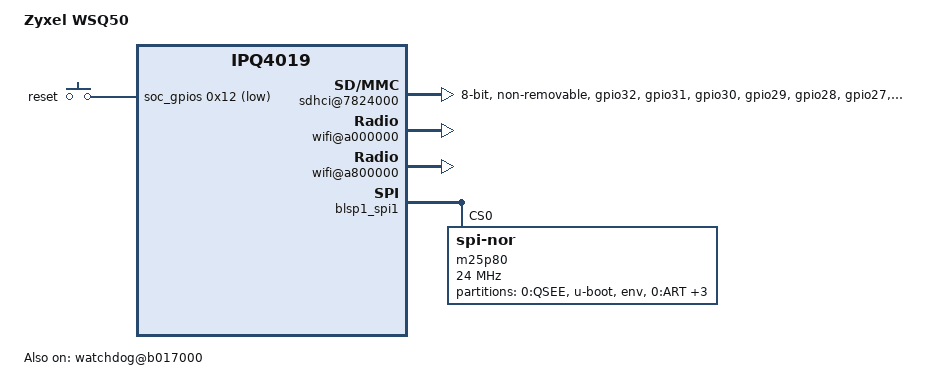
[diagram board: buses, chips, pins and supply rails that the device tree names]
// SPDX-License-Identifier: GPL-2.0-or-later OR MIT

#include "qcom-ipq4019.dtsi"
#include <dt-bindings/gpio/gpio.h>
#include <dt-bindings/input/input.h>
#include <dt-bindings/input/linux-event-codes.h>
#include <dt-bindings/soc/qcom,tcsr.h>

/ {
	model = "Zyxel WSQ50";
	compatible = "zyxel,wsq50";

	chosen {
		/*
		 * the vendor u-boot adds root and mtdparts cmdline parameters
		 * which we don't want... but we have to overwrite them or else
		 * the kernel will take them at face value.
		 */
		bootargs-append = " clk_ignore_unused root=/dev/mmcblk0p8 mtdparts=spi0.0:0x60000@0x60000(0:QSEE)ro,0x80000@0xE0000(u-boot)ro,0x10000(env)ro,0x10000(0:ART)ro,0x10000(dualflag),0x10000(CRT)ro,0x260000(reserved)";
	};

	clocks {
		gcc_sleep_clk_src: gcc_sleep_clk_src {
			#clock-cells = <0x00>;
			clock-frequency = <0x7d00>;
			compatible = "fixed-clock";
		};
	};

	keys {
		compatible = "gpio-keys";

		reset {
			label = "reset";
			gpios = <&soc_gpios 0x12 GPIO_ACTIVE_LOW>;
			linux,code = <KEY_RESTART>;
		};
	};

	sdhci@7824000 {
		bus-width = <0x08>;
		cd-gpios = <&soc_gpios 0x16 0x01>;
		// clock-names = "core", "iface";
		// clocks = <0x02 0x2e 0x02 0x2d>;
		compatible = "qcom,sdhci-msm-v4";
		// interrupts = <0x0 0x7b 0x00 0x00 0x8a 0x00>;
		// interrupt-parent = <&soc_gpios>;
		pinctrl-0 = <&sd_0_pins>;
		pinctrl-names = "default";
		reg = <0x7824900 0x11c 0x7824000 0x800>;
		// sd-ldo-gpios = <&soc_gpios 0x21 0x01>;
		// vqmmc-supply = <0x53>;
		status = "okay";
		non-removable;
	};

	blsp1_uart0: serial@78b0000 {
		compatible = "qcom,msm-uartdm-v1.4", "qcom,msm-uartdm";
		reg = <0x78b0000 0x200>;
		clock = <&gcc GCC_BLSP1_UART2_APPS_CLK>;
		bit-rate = <0xFF>;
		status = "disabled";
		u-boot,dm-pre-reloc;
	};

	blsp1_spi0: spi@78b6000 {
		compatible = "qcom,spi-qup-v2.2.1";
		reg = <0x78b6000 0x600>;
		clocks = <&gcc GCC_BLSP1_QUP2_SPI_APPS_CLK>;
		#address-cells = <1>;
		#size-cells = <0>;
		status = "disabled";
		u-boot,dm-pre-reloc;
	};

	watchdog@b017000 {
		clocks = <&gcc_sleep_clk_src>;
		compatible = "qcom,kpss-wdt-ipq40xx";
		// interrupt-names = "bark_irq";
		// interrupts = <0x00 0x03 0x00>;
		reg = <0xb017000 0x40>;
		status = "okay";
		timeout-sec = <0x0a>;
		wdt_bark_time = <0x10>;
		wdt_bite_time = <0x14>;
		wdt_en = <0x08>;
		wdt_res = <0x04>;
	};

	wifi@a000000 {
		core-id = <0x00>;
		compatible = "qca,wifi-ipq40xx";
		reg = <0xa000000 0x200000>;
	};

	wifi@a800000 {
		core-id = <0x01>;
		compatible = "qca,wifi-ipq40xx";
		reg = <0xa800000 0x200000>;
	};
};

&blsp1_spi1 {
	m25p80@0 {
		compatible = "jedec,spi-nor", "n25q128a11";
		spi-max-frequency = <24000000>;
		reg = <0x00>;

		partitions {
			compatible = "fixed-partitions";
			#address-cells = <1>;
			#size-cells = <1>;

			partition0@0 {
				label = "0:QSEE";
				reg = <0x00060000 0x00060000>;
				read-only;
			};
			partition1@E0000 {
				label = "u-boot";
				reg = <0x000E0000 0x00080000>;
				read-only;
			};
			partition2@160000 {
				label = "env";
				reg = <0x00160000 0x00010000>;
				read-only;
			};
			partition3@170000 {
				label = "0:ART";
				reg = <0x00170000 0x00010000>;
				read-only;
			};
			partition4@180000 {
				label = "dualflag";
				reg = <0x00180000 0x00010000>;
			};
			partition5@190000 {
				label = "CRT";
				reg = <0x00190000 0x00010000>;
				read-only;
			};
			partition6@1A0000 {
				label = "reserved";
				reg = <0x001A0000 0x00260000>;
			};
		};
	};
};

&soc_gpios {
	led_pins: led_pinmux {
		mux {
			output-high;
			bias-pull-up;
			drive-strength = <0x08>;
			pins = "gpio44", "gpio45", "gpio46";
		};
	};

	sd_0_pins: sd_0_pinmux {
		sd7 {
			vm-enable;
			drive-type = <0x01>;
			pull-res = <0x02>;
			function = "sdio7";
			pins = "gpio32";
		};

		sd6 {
			vm-enable;
			drive-type = <0x01>;
			pull-res = <0x02>;
			function = "sdio6";
			pins = "gpio31";
		};

		sd5 {
			vm-enable;
			drive-type = <0x01>;
			pull-res = <0x02>;
			function = "sdio5";
			pins = "gpio30";
		};

		sd4 {
			vm-enable;
			drive-type = <0x01>;
			pull-res = <0x02>;
			function = "sdio4";
			pins = "gpio29";
		};

		sdcmd {
			vm-enable;
			drive-type = <0x01>;
			pull-res = <0x02>;
			function = "sdio_cmd";
			pins = "gpio28";
		};

		sdclk {
			vm-enable;
			drive-type = <0x07>;
			pull-res = <0x02>;
			function = "sdio_clk";
			pins = "gpio27";
		};

		sd3 {
			vm-enable;
			drive-type = <0x01>;
			pull-res = <0x02>;
			function = "sdio3";
			pins = "gpio26";
		};

		sd2 {
			vm-enable;
			drive-type = <0x01>;
			pull-res = <0x02>;
			function = "sdio2";
			pins = "gpio25";
		};

		sd1 {
			vm-enable;
			drive-type = <0x01>;
			pull-res = <0x02>;
			function = "sdio1";
			pins = "gpio24";
		};

		sd0 {
			vm-enable;
			drive-type = <0x01>;
			pull-res = <0x02>;
			function = "sdio0";
			pins = "gpio23";
		};
	};

	serial_pins: serial_pinmux {
		mux {
			pins = "gpio60", "gpio61";
			function = "blsp_uart0";
			bias-disable;
		};
	};

	spi_0_pins: spi-0-pinmux {
		pinmux {
			function = "blsp_spi0";
			pins = "gpio13", "gpio14", "gpio15";
			bias-disable;
		};

		pinmux_cs {
			function = "gpio";
			pins = "gpio12";
			bias-disable;
			output-high;
		};
	};


};
